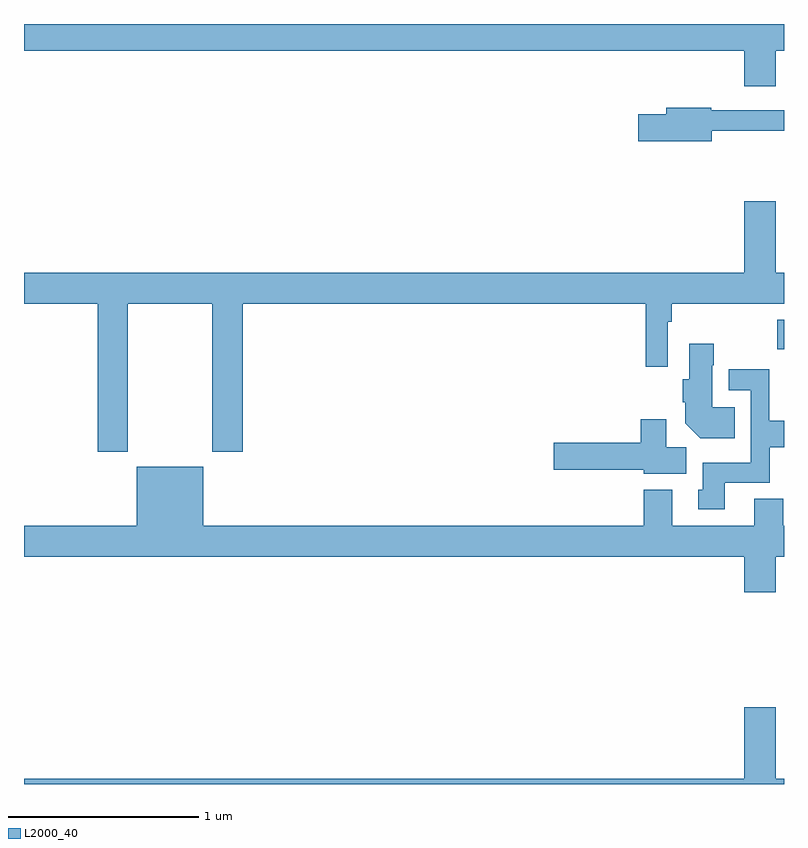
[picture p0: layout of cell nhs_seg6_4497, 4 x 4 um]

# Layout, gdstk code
import gdstk
lib = gdstk.Library(unit=1e-6, precision=1e-09)
def R(c, l, rs):  # rectangles x0, y0, x1, y1
    for r in rs: c.add(gdstk.rectangle(r[:2], r[2:], *l))
def P(c, l, *ps):  # polygons
    for p in ps: c.add(gdstk.Polygon(p, *l))
L2000_40 = (2000, 40)

nhs_seg6_4497 = lib.new_cell('nhs_seg6_4497')
R(nhs_seg6_4497, L2000_40, [(380.965,921.787,381,921.943)])
P(nhs_seg6_4497, L2000_40, [(380.956,923.36),(381,923.36),(381,923.5),(377,923.5),(377,923.36),(380.792,923.36),(380.792,923.172),(380.956,923.172)],
  [(380.62,922.938),(381,922.938),(381,923.046),(380.616,923.046),(380.616,923.059),(380.381,923.059),(380.381,923.025),(380.232,923.025),(380.232,922.883),(380.62,922.883)],
  [(377.547,922.028),(377.992,922.028),(377.992,921.249),(378.152,921.249),(378.152,922.028),(380.272,922.028),(380.272,921.696),(380.388,921.696),(380.388,921.932),(380.408,921.932),(380.408,922.028),(381,922.028),(381,922.192),(380.956,922.192),(380.956,922.567),(380.792,922.567),(380.792,922.192),(377,922.192),(377,922.028),(377.387,922.028),(377.387,921.249),(377.547,921.249)],
  [(380.741,921.484),(380.623,921.484),(380.623,921.704),(380.631,921.704),(380.631,921.817),(380.501,921.817),(380.501,921.63),(380.468,921.63),(380.468,921.508),(380.48,921.508),(380.48,921.398),(380.558,921.32),(380.741,921.32)],
  [(380.689,921.086),(380.925,921.086),(380.925,921.272),(381,921.272),(381,921.412),(380.922,921.412),(380.922,921.682),(380.709,921.682),(380.709,921.573),(380.826,921.573),(380.826,921.19),(380.573,921.19),(380.573,921.048),(380.549,921.048),(380.549,920.946),(380.689,920.946)],
  [(380.485,921.272),(380.38,921.272),(380.38,921.421),(380.246,921.421),(380.246,921.296),(379.788,921.296),(379.788,921.154),(380.262,921.154),(380.262,921.134),(380.485,921.134)],
  [(380.956,920.696),(381,920.696),(381,920.86),(380.996,920.86),(380.996,921.001),(380.843,921.001),(380.843,920.86),(380.413,920.86),(380.413,921.049),(380.261,921.049),(380.261,920.86),(377.944,920.86),(377.944,921.169),(377.594,921.169),(377.594,920.86),(377,920.86),(377,920.696),(380.792,920.696),(380.792,920.508),(380.956,920.508)],
  [(381,919.528),(380.956,919.528),(380.956,919.903),(380.792,919.903),(380.792,919.528),(377,919.528),(377,919.5),(381,919.5)])

lib.write_gds('nhs_seg6_4497.gds')
